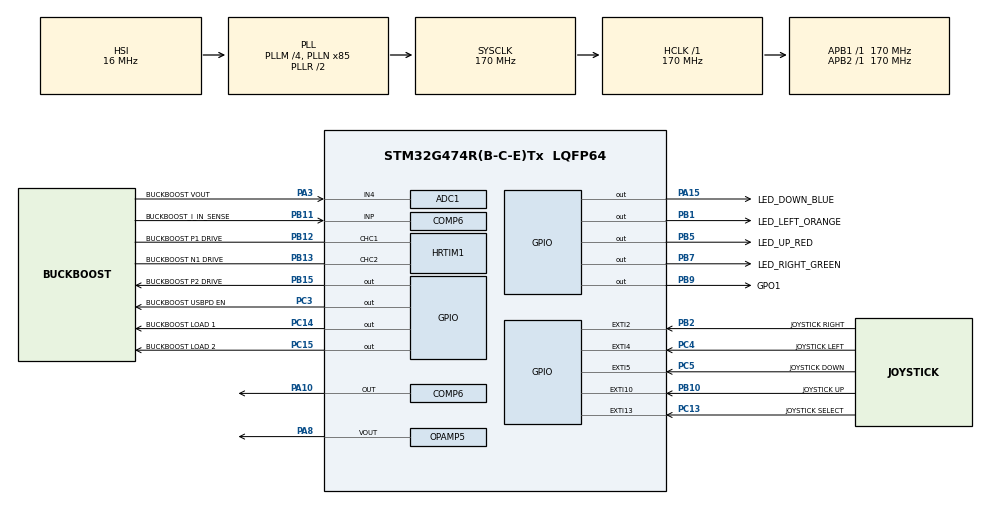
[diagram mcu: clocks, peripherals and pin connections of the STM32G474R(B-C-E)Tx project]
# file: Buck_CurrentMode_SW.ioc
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ADC1.Channel-0\#ChannelRegularConversion=ADC_CHANNEL_4
ADC1.DMAContinuousRequests=ENABLE
ADC1.DataAlign=ADC_DATAALIGN_RIGHT
ADC1.ExternalTrigConv=ADC_EXTERNALTRIG_HRTIM_TRG1
ADC1.NbrOfConversionFlag=1
ADC1.Offset-0\#ChannelRegularConversion=REF
ADC1.OffsetNumber-0\#ChannelRegularConversion=ADC_OFFSET_NONE
ADC1.Overrun=ADC_OVR_DATA_OVERWRITTEN
ADC1.Rank-0\#ChannelRegularConversion=1
ADC1.SamplingTime-0\#ChannelRegularConversion=ADC_SAMPLETIME_2CYCLES_5
ADC1.master=1
COMP6.Hysteresis=COMP_HYSTERESIS_NONE
COMP6.OutputPol=COMP_OUTPUTPOL_INVERTED
DAC4.DAC_Channel-DAC_OUT2_Int=DAC_CHANNEL_2
DAC4.DAC_Trigger2_OUT2-DAC_OUT2_Int=DAC_TRIGGER_HRTIM_STEP_TRG3
DAC4.DAC_Trigger_OUT2-DAC_OUT2_Int=DAC_TRIGGER_HRTIM_RST_TRG3
DAC4.ResetDataSawtooth2-DAC_OUT2_Int=4000
DAC4.StepDataSawtooth2-DAC_OUT2_Int=66
DAC4.WaveGeneration_OUT2-DAC_OUT2_Int=SawtoothWaveGenerate
Dma.ADC1.0.Direction=DMA_PERIPH_TO_MEMORY
Dma.ADC1.0.EventEnable=DISABLE
Dma.ADC1.0.Instance=DMA1_Channel1
Dma.ADC1.0.MemDataAlignment=DMA_MDATAALIGN_WORD
Dma.ADC1.0.MemInc=DMA_MINC_DISABLE
Dma.ADC1.0.Mode=DMA_CIRCULAR
Dma.ADC1.0.PeriphDataAlignment=DMA_PDATAALIGN_WORD
Dma.ADC1.0.PeriphInc=DMA_PINC_DISABLE
Dma.ADC1.0.Polarity=HAL_DMAMUX_REQ_GEN_RISING
Dma.ADC1.0.Priority=DMA_PRIORITY_LOW
Dma.ADC1.0.RequestNumber=1
Dma.ADC1.0.SignalID=HAL_DMAMUX1_REQ_GEN_EXTI2
Dma.ADC1.0.SyncEnable=DISABLE
Dma.ADC1.0.SyncPolarity=HAL_DMAMUX_SYNC_NO_EVENT
Dma.ADC1.0.SyncRequestNumber=1
Dma.ADC1.0.SyncSignalID=NONE
Dma.Request0=ADC1
HRTIM1.ADCTrigger1_Source1=HRTIM_ADCTRIGGEREVENT13_TIMERC_CMP3
HRTIM1.ADCTrigger_Id1=HRTIM_ADCTRIGGER_1
HRTIM1.CompareUnit1-Output_TC1TC2=HRTIM_COMPAREUNIT_1
HRTIM1.CompareUnit2-Output_TC1TC2=HRTIM_COMPAREUNIT_2
HRTIM1.CompareUnit3-Output_TC1TC2=HRTIM_COMPAREUNIT_3
HRTIM1.CompareUnit4-Output_TC1TC2=HRTIM_COMPAREUNIT_4
HRTIM1.CompareValue1-Output_TC1TC2=21760
HRTIM1.CompareValue2-Output_TC1TC2=1000
HRTIM1.CompareValue3-Output_TC1TC2=650
HRTIM1.CompareValue4-Output_TC1TC2=2048
HRTIM1.DeadTimeInsertion-Output_TC1TC2=HRTIM_TIMDEADTIMEINSERTION_ENABLED
HRTIM1.DualChannelDacEnableFake_TC-Output_TC1TC2=HRTIM_TIMER_DCDE_ENABLED_FAKE1
HRTIM1.Event3-Output_TC1TC2=HRTIM_EVENT_3
HRTIM1.Event_EEV3=HRTIM_EVENT_3
HRTIM1.FallingValue-Output_TC1TC2=300
HRTIM1.FaultLevel1-Output_TC1TC2=HRTIM_OUTPUTFAULTLEVEL_INACTIVE
HRTIM1.Fault_Line1=__NULL
HRTIM1.Filter3-Output_TC1TC2=HRTIM_TIMEEVFLT_BLANKINGCMP3
HRTIM1.NumberADCTriggerSource1=1
HRTIM1.NumberResetSource1-Output_TC1TC2=2
HRTIM1.NumberSetSource1-Output_TC1TC2=1
HRTIM1.Periode_TC=27200
HRTIM1.ResetOutput1_Source1-Output_TC1TC2=HRTIM_OUTPUTRESET_TIMCMP1
HRTIM1.ResetOutput1_Source2-Output_TC1TC2=HRTIM_OUTPUTRESET_EEV_3
HRTIM1.RisingValue-Output_TC1TC2=75
HRTIM1.SetOutput1_Source1-Output_TC1TC2=HRTIM_OUTPUTSET_TIMCMP4
Mcu.Family=STM32G4
Mcu.Name=STM32G474R(B-C-E)Tx
Mcu.Package=LQFP64
NVIC.ADC1_2_IRQn=true\:0\:0\:false\:false\:true\:true\:false
NVIC.DMA1_Channel1_IRQn=true\:0\:0\:false\:false\:false\:false\:false
NVIC.EXTI15_10_IRQn=true\:0\:0\:false\:false\:true\:true\:true
NVIC.EXTI2_IRQn=true\:0\:0\:false\:false\:true\:true\:true
NVIC.EXTI4_IRQn=true\:0\:0\:false\:false\:true\:true\:true
NVIC.EXTI9_5_IRQn=true\:0\:0\:false\:false\:true\:true\:true
NVIC.FMAC_IRQn=true\:0\:0\:false\:false\:true\:true\:false
NVIC.PriorityGroup=NVIC_PRIORITYGROUP_4
PA1.GPIO_Label=BUCKBOOST VIN
PA1.Signal=ADC1_IN2
PA10.Mode=ExternalOutput
PA10.Signal=COMP6_OUT
PA13.GPIO_Label=T_SWDIO
PA13.Mode=Trace_Asynchronous_SW
PA13.Signal=SYS_JTMS-SWDIO
PA14.GPIO_Label=T_SWCLK
PA14.Mode=Trace_Asynchronous_SW
PA14.Signal=SYS_JTCK-SWCLK
PA15.GPIO_Label=LED_DOWN_BLUE
PA15.GPIO_PuPd=GPIO_NOPULL
PA15.Signal=GPIO_Output
PA2.GPIO_Label=BUCKBOOST I IN AVG
PA2.Signal=ADC1_IN3
PA3.GPIO_Label=BUCKBOOST VOUT
PA3.Mode=IN4-Single-Ended
PA3.Signal=ADC1_IN4
PA8.Mode=Follower-DAC_OUT2-INP
PA8.Signal=OPAMP5_VOUT
PB1.GPIO_Label=LED_LEFT_ORANGE
PB1.GPIO_PuPd=GPIO_NOPULL
PB1.Signal=GPIO_Output
PB10.GPIO_Label=JOYSTICK UP
PB10.GPIO_PuPd=GPIO_PULLUP
PB10.Signal=GPXTI10
PB11.GPIO_Label=BUCKBOOST_I_IN_SENSE
PB11.Mode=INP
PB11.Signal=COMP6_INP
PB12.GPIO_Label=BUCKBOOST P1 DRIVE
PB12.Mode=Output_TC1TC2
PB12.Signal=HRTIM1_CHC1
PB13.GPIO_Label=BUCKBOOST N1 DRIVE
PB13.Mode=Output_TC1TC2
PB13.Signal=HRTIM1_CHC2
PB14.GPIO_Label=BUCKBOOST N2 DRIVE
PB14.Signal=HRTIM1_CHD1
PB15.GPIO_Label=BUCKBOOST P2 DRIVE
PB15.Signal=GPIO_Output
PB2.GPIO_Label=JOYSTICK RIGHT
PB2.GPIO_ModeDefaultEXTI=GPIO_MODE_IT_RISING
PB2.GPIO_PuPd=GPIO_PULLUP
PB2.Signal=GPXTI2
PB3.GPIO_Label=T_SWO
PB3.Mode=Trace_Asynchronous_SW
PB3.Signal=SYS_JTDO-SWO
PB5.GPIO_Label=LED_UP_RED
PB5.GPIO_PuPd=GPIO_NOPULL
PB5.Signal=GPIO_Output
PB7.GPIO_Label=LED_RIGHT_GREEN
PB7.GPIO_PuPd=GPIO_NOPULL
PB7.Signal=GPIO_Output
PB9.GPIO_Label=GPO1
PB9.GPIO_Speed=GPIO_SPEED_FREQ_VERY_HIGH
PB9.Signal=GPIO_Output
PC10.Signal=USART3_TX
PC11.Signal=USART3_RX
PC13.GPIO_Label=JOYSTICK SELECT
PC13.GPIO_PuPd=GPIO_PULLUP
PC13.Signal=GPXTI13
PC14-OSC32_IN.GPIO_Label=BUCKBOOST LOAD 1
PC14-OSC32_IN.Signal=GPIO_Output
PC15-OSC32_OUT.GPIO_Label=BUCKBOOST LOAD 2
PC15-OSC32_OUT.Signal=GPIO_Output
PC3.GPIO_Label=BUCKBOOST USBPD EN
PC3.PinState=GPIO_PIN_SET
PC3.Signal=GPIO_Output
PC4.GPIO_Label=JOYSTICK LEFT
PC4.GPIO_PuPd=GPIO_PULLUP
PC4.Signal=GPXTI4
PC5.GPIO_Label=JOYSTICK DOWN
PC5.GPIO_PuPd=GPIO_PULLUP
PC5.Signal=GPXTI5
ProjectManager.HeapSize=0x200
ProjectManager.StackSize=0x400
ProjectManager.TargetToolchain=EWARM V8.32
RCC.ADC12CLockSelection=RCC_ADC12CLKSOURCE_PLL
RCC.ADC12Freq_Value=56666666.666666664
RCC.ADC345Freq_Value=170000000
RCC.AHBFreq_Value=170000000
RCC.APB1Freq_Value=170000000
RCC.APB1TimFreq_Value=170000000
RCC.APB2Freq_Value=170000000
RCC.APB2TimFreq_Value=170000000
RCC.CortexFreq_Value=170000000
RCC.EXTERNAL_CLOCK_VALUE=12288000
RCC.HCLKFreq_Value=170000000
RCC.HSE_VALUE=24000000
RCC.HSI48_VALUE=48000000
RCC.HSI_VALUE=16000000
RCC.LSE_VALUE=32768
RCC.PLLM=RCC_PLLM_DIV4
RCC.PLLN=85
RCC.PLLP=RCC_PLLP_DIV6
RCC.SYSCLKFreq_VALUE=170000000
RCC.SYSCLKSource=RCC_SYSCLKSOURCE_PLLCLK
RCC.USBFreq_Value=170000000
RCC.VCOOutputFreq_Value=340000000
VP_COMP6_VS_DAC4OUT2.Mode=INM_DAC4OUT2
VP_DAC4_VS_DACI2.Mode=DAC_OUT2_Int
VP_FMAC_VS_FMAC.Mode=FMAC_Activate
VP_RTC_VS_RTC_Activate.Mode=RTC_Enabled
VP_SYS_VS_DBSignals.Mode=DisableDeadBatterySignals
board=NUCLEO-G474RE

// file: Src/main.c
/* USER CODE BEGIN Header */
/**
  ******************************************************************************
  * @file           : main.c
  * @brief          : Main program body
  ******************************************************************************
  * @attention
  *
  * <h2><center>&copy; Copyright (c) 2019 STMicroelectronics.
  * All rights reserved.</center></h2>
  *
  * This software component is licensed by ST under BSD 3-Clause license,
  * the "License"; You may not use this file except in compliance with the
  * License. You may obtain a copy of the License at:
  *                        opensource.org/licenses/BSD-3-Clause
  *
  ******************************************************************************
  */
/* USER CODE END Header */

#include "main.h"

/* USER CODE BEGIN Includes */
#include "../../common/STM32G474RE_Discovery.c"
#include "stm32g4xx_it.h"
/* USER CODE END Includes */

/* USER CODE BEGIN PD */
//#define RUN_OPEN_LOOP
/* USER CODE END PD */

ADC_HandleTypeDef hadc1;
DMA_HandleTypeDef hdma_adc1;

COMP_HandleTypeDef hcomp6;

DAC_HandleTypeDef hdac4;

FMAC_HandleTypeDef hfmac;

HRTIM_HandleTypeDef hhrtim1;

OPAMP_HandleTypeDef hopamp5;

RTC_HandleTypeDef hrtc;

/* USER CODE BEGIN PV */
float Vdrop = SLOPE_VPP;
float Vdrop_old = 0.0;
extern G4_Demo_t Demo;
int16_t bTransient = 0;
int32_t Vout;
int32_t CompareReg;

/* USER CODE END PV */

void SystemClock_Config(void);
static void MX_GPIO_Init(void);
static void MX_DMA_Init(void);
static void MX_RTC_Init(void);
static void MX_ADC1_Init(void);
static void MX_HRTIM1_Init(void);
static void MX_FMAC_Init(void);
static void MX_COMP6_Init(void);
static void MX_DAC4_Init(void);
static void MX_OPAMP5_Init(void);
/* USER CODE BEGIN PFP */
extern uint16_t HAL_HRTIM_NsToTicks(HRTIM_HandleTypeDef *hhrtim, uint32_t Timers, int ns);
extern uint16_t HAL_HRTIM_FreqToTicks(HRTIM_HandleTypeDef *hhrtim, uint32_t Timers, int FreqHz);
extern uint16_t HAL_HRTIM_DeadBandNsToTicks(int ns);

/* USER CODE END PFP */

/* USER CODE BEGIN 0 */

/* USER CODE BEGIN 0 */
/**
  * @brief This function handles the loads.
  */
void LoadHandler(void)
{
  switch (Demo.NbrActiveLoad)
  {
  case 2:
    /* Enable Load_1 */
    HAL_GPIO_WritePin(GPIOC, BUCKBOOST_LOAD_1_Pin, GPIO_PIN_SET);
    HAL_GPIO_WritePin(GPIOB, LED_RIGHT_GREEN_Pin, GPIO_PIN_SET);
    /* Enable Load_2 */
    HAL_GPIO_WritePin(GPIOC, BUCKBOOST_LOAD_2_Pin, GPIO_PIN_SET);
    HAL_GPIO_WritePin(GPIOB, LED_LEFT_ORANGE_Pin, GPIO_PIN_SET);
    break;
  case 1:
    /* Enable Load_1 */
    HAL_GPIO_WritePin(GPIOC, BUCKBOOST_LOAD_1_Pin, GPIO_PIN_SET);
    HAL_GPIO_WritePin(GPIOB, LED_RIGHT_GREEN_Pin, GPIO_PIN_SET);
    /* Disable Load_2 */
    HAL_GPIO_WritePin(GPIOC, BUCKBOOST_LOAD_2_Pin, GPIO_PIN_RESET);
    HAL_GPIO_WritePin(GPIOB, LED_LEFT_ORANGE_Pin, GPIO_PIN_RESET);
    break;
  case 0:
  default:
    /* Disable Load_1 */
    HAL_GPIO_WritePin(GPIOC, BUCKBOOST_LOAD_1_Pin, GPIO_PIN_RESET);
    HAL_GPIO_WritePin(GPIOB, LED_RIGHT_GREEN_Pin, GPIO_PIN_RESET);
    /* Disable Load_2 */
    HAL_GPIO_WritePin(GPIOC, BUCKBOOST_LOAD_2_Pin, GPIO_PIN_RESET);
    HAL_GPIO_WritePin(GPIOB, LED_LEFT_ORANGE_Pin, GPIO_PIN_RESET);
    break;
  }
}

/**
  * @brief This function handles System tick timer.
  */
void SysTick_Handler(void)
{
  /* USER CODE BEGIN SysTick_IRQn 0 */

  // If ~512 ms has elapsed, check if we are doing transient load mode
  // and run the load handler
  if (0 == HAL_GetTick() % 512)
  {
    if (Demo.bTransient == 1)
    {
      if (Demo.NbrActiveLoad == 1)
      {
        Demo.NbrActiveLoad = 2;
      }
      else
      {
        Demo.NbrActiveLoad = 1;
      }

      LoadHandler();
    }
  }

  // Play back data captured during FMAC ISR
  WaveFormDisplay(&Vout, &CompareReg);

  /* USER CODE END SysTick_IRQn 0 */
  HAL_IncTick();
  /* USER CODE BEGIN SysTick_IRQn 1 */

  /* USER CODE END SysTick_IRQn 1 */
}

/**
  * @brief This set the slope for the DAC.
  * @details
  * The sets the total drop across the PWM period required.
  * We use DAC1 channel 1&2 since channel 1 is connected to the external pin
  * but channel 2 is actually used for the controller.
  */
void SetRamp( float SlopeV )
{
  uint16_t update;
  float stepV;
  uint16_t step;
  uint16_t NumUpdates = 75; // Max updates per period is determiend by the max update rate of the DAC

  update = Demo.periodBuck / NumUpdates;
  stepV = SlopeV/NumUpdates;

  /* DacDrop = (Vdrop * 4096*16(fractional)/3.3V) */
  step = (uint16_t)((stepV * DAC_MAX * 16)/3.3);

  /* Update the sawtooth waveform generator with the required step size */
  LL_DAC_SetWaveSawtoothStepData(DAC4, LL_DAC_CHANNEL_2, step);
  __HAL_HRTIM_SETCOMPARE( &hhrtim1, HRTIM_TIMERINDEX_TIMER_C, HRTIM_COMPAREUNIT_2, update);
}

/* USER CODE END 0 */

int main(void)
{

  /* MCU Configuration--------------------------------------------------------*/

  /* Reset of all peripherals, Initializes the Flash interface and the Systick. */
  HAL_Init();

  /* Configure the system clock */
  SystemClock_Config();

  /* Initialize all configured peripherals */
  MX_GPIO_Init();
  MX_DMA_Init();
  MX_RTC_Init();
  MX_ADC1_Init();
  MX_HRTIM1_Init();
  MX_FMAC_Init();
  MX_COMP6_Init();
  MX_DAC4_Init();
  MX_OPAMP5_Init();
  /* USER CODE BEGIN 2 */

  /* Initialise 3P3Z controller with our 2P2Z coeffs, REF and ADC value */
  CNTRL_3p3zFloatInit(&Demo.CtrlFloat, B0, B1, B2, 0.0,
                      A1, A2, 0.0, K,
                      REF, 0, DAC_MAX );

  /* Perform an ADC automatic self-calibration and enable ADC */
  if (HAL_ADCEx_Calibration_Start(&hadc1, ADC_SINGLE_ENDED) != HAL_OK)
  {
    /* Configuration Error */
    Error_Handler();
  }

#ifndef RUN_OPEN_LOOP
  /* Start the ADC and enable the end of conversion interrupt */
  if (HAL_ADC_Start_IT(&hadc1) != HAL_OK)
  {
    /* Configuration Error */
    Error_Handler();
  }
#endif

  /* Enables DAC and starts conversion of the channel */
  if (HAL_DAC_Start(&hdac4, DAC_CHANNEL_2) != HAL_OK)
  {
    /* Configuration Error */
    Error_Handler();
  }

  /* Start the comparator to detect the peak current trip threshold */
  if (HAL_COMP_Start(&hcomp6) != HAL_OK)
  {
    /* Configuration Error */
    Error_Handler();
  }

  /* Start the OPAMP which allows us to view the demand peak current value on the scope */
  if (HAL_OPAMP_Start(&hopamp5) != HAL_OK)
  {
    /* Configuration Error */
    Error_Handler();
  }

  /* Calculate PWM period and update timer register */
  Demo.periodBuck = HAL_HRTIM_FreqToTicks(&hhrtim1, HRTIM_TIMERINDEX_TIMER_C, SwitchFreq);
  __HAL_HRTIM_SETPERIOD(&hhrtim1, HRTIM_TIMERINDEX_TIMER_C, Demo.periodBuck);

#ifdef RUN_OPEN_LOOP
  /* Open loop so run with a small fixed duty cycle */
  __HAL_HRTIM_SETCOMPARE(&hhrtim1, HRTIM_TIMERINDEX_TIMER_C, HRTIM_COMPAREUNIT_1, Demo.periodBuck * 5 / 100);
#else
  /* Set max duty to 80% of period */
  __HAL_HRTIM_SETCOMPARE(&hhrtim1, HRTIM_TIMERINDEX_TIMER_C, HRTIM_COMPAREUNIT_1, Demo.periodBuck * 80 / 100);
#endif
  /* Set number of slope compensation steps per period to 75 */
  __HAL_HRTIM_SETCOMPARE(&hhrtim1, HRTIM_TIMERINDEX_TIMER_C, HRTIM_COMPAREUNIT_2, Demo.periodBuck / 75);
  /* Set blanking period */
  __HAL_HRTIM_SETCOMPARE(&hhrtim1, HRTIM_TIMERINDEX_TIMER_C, HRTIM_COMPAREUNIT_3, HAL_HRTIM_NsToTicks(&hhrtim1, HRTIM_TIMERINDEX_TIMER_C,500)); // Allow 300ns for blanking + 200ns for rising edge delay
  /* Set PWM rising edge to 200ns after the start of the period */
  __HAL_HRTIM_SETCOMPARE(&hhrtim1, HRTIM_TIMERINDEX_TIMER_C, HRTIM_COMPAREUNIT_4, HAL_HRTIM_NsToTicks(&hhrtim1, HRTIM_TIMERINDEX_TIMER_C,200)); //200ns after start of period

  /* Start the PWMs */
  HAL_HRTIM_WaveformOutputStart(&hhrtim1, HRTIM_OUTPUT_TC1 | HRTIM_OUTPUT_TC2); // Enable output
  HAL_HRTIM_WaveformCounterStart(&hhrtim1, HRTIM_TIMERID_TIMER_C); // Enable counter

  /* Enable T6 for Buck only mode usage */
  HAL_GPIO_WritePin(GPIOB, BUCKBOOST_P2_DRIVE_Pin, GPIO_PIN_SET);

  /* For debugging only */
  Waveform.m_State = WAVEFORM_WAIT_FOR_TRIGGER;

  /* USER CODE END 2 */

  /* Infinite loop */
  /* USER CODE BEGIN WHILE */
  while (1)
  {
    if (bTransient)
    {
      // Toggle blue LED
      HAL_GPIO_WritePin(GPIOA, LED_DOWN_BLUE_Pin, GPIO_PIN_SET);

      // Toggle both loads
      HAL_GPIO_TogglePin(GPIOC, BUCKBOOST_LOAD_1_Pin);
      HAL_GPIO_TogglePin(GPIOC, BUCKBOOST_LOAD_2_Pin);
      HAL_GPIO_TogglePin(GPIOB, LED_RIGHT_GREEN_Pin);
      HAL_GPIO_TogglePin(GPIOB, LED_LEFT_ORANGE_Pin);

      // Delay
      HAL_Delay(500);
    } else {
      // Clear blue LED
      HAL_GPIO_WritePin(GPIOA, LED_DOWN_BLUE_Pin, GPIO_PIN_RESET);
    }

	/* If the user has updated the amount of slope compensation then call SetRamp() to update slope generator */
    if (Vdrop != Vdrop_old)
    {
      SetRamp( Vdrop );
      Vdrop_old = Vdrop;
    }

    /* USER CODE END WHILE */

  }
}

void SystemClock_Config(void)
{
  RCC_OscInitTypeDef RCC_OscInitStruct = {0};
  RCC_ClkInitTypeDef RCC_ClkInitStruct = {0};
  RCC_PeriphCLKInitTypeDef PeriphClkInit = {0};

  /** Configure the main internal regulator output voltage
  */
  HAL_PWREx_ControlVoltageScaling(PWR_REGULATOR_VOLTAGE_SCALE1_BOOST);
  /** Initializes the CPU, AHB and APB busses clocks
  */
  RCC_OscInitStruct.OscillatorType = RCC_OSCILLATORTYPE_HSI|RCC_OSCILLATORTYPE_LSI;
  RCC_OscInitStruct.HSIState = RCC_HSI_ON;
  RCC_OscInitStruct.HSICalibrationValue = RCC_HSICALIBRATION_DEFAULT;
  RCC_OscInitStruct.LSIState = RCC_LSI_ON;
  RCC_OscInitStruct.PLL.PLLState = RCC_PLL_ON;
  RCC_OscInitStruct.PLL.PLLSource = RCC_PLLSOURCE_HSI;
  RCC_OscInitStruct.PLL.PLLM = RCC_PLLM_DIV4;
  RCC_OscInitStruct.PLL.PLLN = 85;
  RCC_OscInitStruct.PLL.PLLP = RCC_PLLP_DIV6;
  RCC_OscInitStruct.PLL.PLLQ = RCC_PLLQ_DIV2;
  RCC_OscInitStruct.PLL.PLLR = RCC_PLLR_DIV2;
  if (HAL_RCC_OscConfig(&RCC_OscInitStruct) != HAL_OK)
  {
    Error_Handler();
  }
  /** Initializes the CPU, AHB and APB busses clocks
  */
  RCC_ClkInitStruct.ClockType = RCC_CLOCKTYPE_HCLK|RCC_CLOCKTYPE_SYSCLK
                              |RCC_CLOCKTYPE_PCLK1|RCC_CLOCKTYPE_PCLK2;
  RCC_ClkInitStruct.SYSCLKSource = RCC_SYSCLKSOURCE_PLLCLK;
  RCC_ClkInitStruct.AHBCLKDivider = RCC_SYSCLK_DIV1;
  RCC_ClkInitStruct.APB1CLKDivider = RCC_HCLK_DIV1;
  RCC_ClkInitStruct.APB2CLKDivider = RCC_HCLK_DIV1;

  if (HAL_RCC_ClockConfig(&RCC_ClkInitStruct, FLASH_LATENCY_8) != HAL_OK)
  {
    Error_Handler();
  }
  /** Initializes the peripherals clocks
  */
  PeriphClkInit.PeriphClockSelection = RCC_PERIPHCLK_RTC|RCC_PERIPHCLK_ADC12;
  PeriphClkInit.Adc12ClockSelection = RCC_ADC12CLKSOURCE_PLL;
  PeriphClkInit.RTCClockSelection = RCC_RTCCLKSOURCE_LSI;
  if (HAL_RCCEx_PeriphCLKConfig(&PeriphClkInit) != HAL_OK)
  {
    Error_Handler();
  }
}

static void MX_ADC1_Init(void)
{

  ADC_MultiModeTypeDef multimode = {0};
  ADC_ChannelConfTypeDef sConfig = {0};

  /** Common config
  */
  hadc1.Instance = ADC1;
  hadc1.Init.ClockPrescaler = ADC_CLOCK_ASYNC_DIV1;
  hadc1.Init.Resolution = ADC_RESOLUTION_12B;
  hadc1.Init.DataAlign = ADC_DATAALIGN_RIGHT;
  hadc1.Init.GainCompensation = 0;
  hadc1.Init.ScanConvMode = ADC_SCAN_DISABLE;
  hadc1.Init.EOCSelection = ADC_EOC_SINGLE_CONV;
  hadc1.Init.LowPowerAutoWait = DISABLE;
  hadc1.Init.ContinuousConvMode = DISABLE;
  hadc1.Init.NbrOfConversion = 1;
  hadc1.Init.DiscontinuousConvMode = DISABLE;
  hadc1.Init.ExternalTrigConv = ADC_EXTERNALTRIG_HRTIM_TRG1;
  hadc1.Init.ExternalTrigConvEdge = ADC_EXTERNALTRIGCONVEDGE_RISING;
  hadc1.Init.DMAContinuousRequests = ENABLE;
  hadc1.Init.Overrun = ADC_OVR_DATA_OVERWRITTEN;
  hadc1.Init.OversamplingMode = DISABLE;
  if (HAL_ADC_Init(&hadc1) != HAL_OK)
  {
    Error_Handler();
  }
  /** Configure the ADC multi-mode
  */
  multimode.Mode = ADC_MODE_INDEPENDENT;
  if (HAL_ADCEx_MultiModeConfigChannel(&hadc1, &multimode) != HAL_OK)
  {
    Error_Handler();
  }
  /** Configure Regular Channel
  */
  sConfig.Channel = ADC_CHANNEL_4;
  sConfig.Rank = ADC_REGULAR_RANK_1;
  sConfig.SamplingTime = ADC_SAMPLETIME_2CYCLES_5;
  sConfig.SingleDiff = ADC_SINGLE_ENDED;
  sConfig.OffsetNumber = ADC_OFFSET_NONE;
  sConfig.Offset = REF;
  if (HAL_ADC_ConfigChannel(&hadc1, &sConfig) != HAL_OK)
  {
    Error_Handler();
  }

}

static void MX_COMP6_Init(void)
{

  hcomp6.Instance = COMP6;
  hcomp6.Init.InputPlus = COMP_INPUT_PLUS_IO1;
  hcomp6.Init.InputMinus = COMP_INPUT_MINUS_DAC4_CH2;
  hcomp6.Init.OutputPol = COMP_OUTPUTPOL_INVERTED;
  hcomp6.Init.Hysteresis = COMP_HYSTERESIS_NONE;
  hcomp6.Init.BlankingSrce = COMP_BLANKINGSRC_NONE;
  hcomp6.Init.TriggerMode = COMP_TRIGGERMODE_NONE;
  if (HAL_COMP_Init(&hcomp6) != HAL_OK)
  {
    Error_Handler();
  }

}

static void MX_DAC4_Init(void)
{

  DAC_ChannelConfTypeDef sConfig = {0};

  /** DAC Initialization
  */
  hdac4.Instance = DAC4;
  if (HAL_DAC_Init(&hdac4) != HAL_OK)
  {
    Error_Handler();
  }
  /** DAC channel OUT2 config
  */
  sConfig.DAC_HighFrequency = DAC_HIGH_FREQUENCY_INTERFACE_MODE_AUTOMATIC;
  sConfig.DAC_DMADoubleDataMode = DISABLE;
  sConfig.DAC_SignedFormat = DISABLE;
  sConfig.DAC_SampleAndHold = DAC_SAMPLEANDHOLD_DISABLE;
  sConfig.DAC_Trigger = DAC_TRIGGER_HRTIM_RST_TRG3;
  sConfig.DAC_Trigger2 = DAC_TRIGGER_HRTIM_STEP_TRG3;
  sConfig.DAC_OutputBuffer = DAC_OUTPUTBUFFER_DISABLE;
  sConfig.DAC_ConnectOnChipPeripheral = DAC_CHIPCONNECT_ENABLE;
  sConfig.DAC_UserTrimming = DAC_TRIMMING_FACTORY;
  if (HAL_DAC_ConfigChannel(&hdac4, &sConfig, DAC_CHANNEL_2) != HAL_OK)
  {
    Error_Handler();
  }
  /** Configure Sawtooth wave generation on DAC OUT2
  */
  if (HAL_DACEx_SawtoothWaveGenerate(&hdac4, DAC_CHANNEL_2, DAC_SAWTOOTH_POLARITY_DECREMENT, 4000, 66) != HAL_OK)
  {
    Error_Handler();
  }

}

static void MX_FMAC_Init(void)
{

  hfmac.Instance = FMAC;
  if (HAL_FMAC_Init(&hfmac) != HAL_OK)
  {
    Error_Handler();
  }

}

static void MX_HRTIM1_Init(void)
{

  HRTIM_EventCfgTypeDef pEventCfg = {0};
  HRTIM_ADCTriggerCfgTypeDef pADCTriggerCfg = {0};
  HRTIM_TimeBaseCfgTypeDef pTimeBaseCfg = {0};
  HRTIM_TimerCtlTypeDef pTimerCtl = {0};
  HRTIM_TimerCfgTypeDef pTimerCfg = {0};
  HRTIM_CompareCfgTypeDef pCompareCfg = {0};
  HRTIM_TimerEventFilteringCfgTypeDef pTimerEventFilteringCfg = {0};
  HRTIM_DeadTimeCfgTypeDef pDeadTimeCfg = {0};
  HRTIM_OutputCfgTypeDef pOutputCfg = {0};

  hhrtim1.Instance = HRTIM1;
  hhrtim1.Init.HRTIMInterruptResquests = HRTIM_IT_NONE;
  hhrtim1.Init.SyncOptions = HRTIM_SYNCOPTION_NONE;
  if (HAL_HRTIM_Init(&hhrtim1) != HAL_OK)
  {
    Error_Handler();
  }
  if (HAL_HRTIM_DLLCalibrationStart(&hhrtim1, HRTIM_CALIBRATIONRATE_3) != HAL_OK)
  {
    Error_Handler();
  }
  if (HAL_HRTIM_PollForDLLCalibration(&hhrtim1, 10) != HAL_OK)
  {
    Error_Handler();
  }
  if (HAL_HRTIM_EventPrescalerConfig(&hhrtim1, HRTIM_EVENTPRESCALER_DIV1) != HAL_OK)
  {
    Error_Handler();
  }
  pEventCfg.Source = HRTIM_EEV3SRC_COMP6_OUT;
  pEventCfg.Polarity = HRTIM_EVENTPOLARITY_HIGH;
  pEventCfg.Sensitivity = HRTIM_EVENTSENSITIVITY_LEVEL;
  pEventCfg.FastMode = HRTIM_EVENTFASTMODE_DISABLE;
  if (HAL_HRTIM_EventConfig(&hhrtim1, HRTIM_EVENT_3, &pEventCfg) != HAL_OK)
  {
    Error_Handler();
  }
  pADCTriggerCfg.UpdateSource = HRTIM_ADCTRIGGERUPDATE_TIMER_C;
  pADCTriggerCfg.Trigger = HRTIM_ADCTRIGGEREVENT13_TIMERC_CMP3;
  if (HAL_HRTIM_ADCTriggerConfig(&hhrtim1, HRTIM_ADCTRIGGER_1, &pADCTriggerCfg) != HAL_OK)
  {
    Error_Handler();
  }
  if (HAL_HRTIM_ADCPostScalerConfig(&hhrtim1, HRTIM_ADCTRIGGER_1, 0x0) != HAL_OK)
  {
    Error_Handler();
  }
  pTimeBaseCfg.Period = 27200;
  pTimeBaseCfg.RepetitionCounter = 0x00;
  pTimeBaseCfg.PrescalerRatio = HRTIM_PRESCALERRATIO_MUL32;
  pTimeBaseCfg.Mode = HRTIM_MODE_CONTINUOUS;
  if (HAL_HRTIM_TimeBaseConfig(&hhrtim1, HRTIM_TIMERINDEX_TIMER_C, &pTimeBaseCfg) != HAL_OK)
  {
    Error_Handler();
  }
  pTimerCtl.UpDownMode = HRTIM_TIMERUPDOWNMODE_UP;
  pTimerCtl.TrigHalf = HRTIM_TIMERTRIGHALF_DISABLED;
  pTimerCtl.GreaterCMP3 = HRTIM_TIMERGTCMP3_EQUAL;
  pTimerCtl.GreaterCMP1 = HRTIM_TIMERGTCMP1_EQUAL;
  pTimerCtl.DualChannelDacReset = HRTIM_TIMER_DCDR_COUNTER;
  pTimerCtl.DualChannelDacStep = HRTIM_TIMER_DCDS_CMP2;
  pTimerCtl.DualChannelDacEnable = HRTIM_TIMER_DCDE_ENABLED;
  if (HAL_HRTIM_WaveformTimerControl(&hhrtim1, HRTIM_TIMERINDEX_TIMER_C, &pTimerCtl) != HAL_OK)
  {
    Error_Handler();
  }
  pTimerCfg.InterruptRequests = HRTIM_TIM_IT_NONE;
  pTimerCfg.DMARequests = HRTIM_TIM_DMA_NONE;
  pTimerCfg.DMASrcAddress = 0x0000;
  pTimerCfg.DMADstAddress = 0x0000;
  pTimerCfg.DMASize = 0x1;
  pTimerCfg.HalfModeEnable = HRTIM_HALFMODE_DISABLED;
  pTimerCfg.InterleavedMode = HRTIM_INTERLEAVED_MODE_DISABLED;
  pTimerCfg.StartOnSync = HRTIM_SYNCSTART_DISABLED;
  pTimerCfg.ResetOnSync = HRTIM_SYNCRESET_DISABLED;
  pTimerCfg.DACSynchro = HRTIM_DACSYNC_NONE;
  pTimerCfg.PreloadEnable = HRTIM_PRELOAD_DISABLED;
  pTimerCfg.UpdateGating = HRTIM_UPDATEGATING_INDEPENDENT;
  pTimerCfg.BurstMode = HRTIM_TIMERBURSTMODE_MAINTAINCLOCK;
  pTimerCfg.RepetitionUpdate = HRTIM_UPDATEONREPETITION_DISABLED;
  pTimerCfg.PushPull = HRTIM_TIMPUSHPULLMODE_DISABLED;
  pTimerCfg.FaultEnable = HRTIM_TIMFAULTENABLE_NONE;
  pTimerCfg.FaultLock = HRTIM_TIMFAULTLOCK_READWRITE;
  pTimerCfg.DeadTimeInsertion = HRTIM_TIMDEADTIMEINSERTION_ENABLED;
  pTimerCfg.DelayedProtectionMode = HRTIM_TIMER_A_B_C_DELAYEDPROTECTION_DISABLED;
  pTimerCfg.UpdateTrigger = HRTIM_TIMUPDATETRIGGER_NONE;
  pTimerCfg.ResetTrigger = HRTIM_TIMRESETTRIGGER_NONE;
  pTimerCfg.ResetUpdate = HRTIM_TIMUPDATEONRESET_DISABLED;
  pTimerCfg.ReSyncUpdate = HRTIM_TIMERESYNC_UPDATE_UNCONDITIONAL;
  if (HAL_HRTIM_WaveformTimerConfig(&hhrtim1, HRTIM_TIMERINDEX_TIMER_C, &pTimerCfg) != HAL_OK)
  {
    Error_Handler();
  }
  pCompareCfg.CompareValue = 21760;
  if (HAL_HRTIM_WaveformCompareConfig(&hhrtim1, HRTIM_TIMERINDEX_TIMER_C, HRTIM_COMPAREUNIT_1, &pCompareCfg) != HAL_OK)
  {
    Error_Handler();
  }
  pCompareCfg.CompareValue = 1000;
  pCompareCfg.AutoDelayedMode = HRTIM_AUTODELAYEDMODE_REGULAR;
  pCompareCfg.AutoDelayedTimeout = 0x0000;

  if (HAL_HRTIM_WaveformCompareConfig(&hhrtim1, HRTIM_TIMERINDEX_TIMER_C, HRTIM_COMPAREUNIT_2, &pCompareCfg) != HAL_OK)
  {
    Error_Handler();
  }
  pCompareCfg.CompareValue = 650;
  if (HAL_HRTIM_WaveformCompareConfig(&hhrtim1, HRTIM_TIMERINDEX_TIMER_C, HRTIM_COMPAREUNIT_3, &pCompareCfg) != HAL_OK)
  {
    Error_Handler();
  }
  pCompareCfg.CompareValue = 2048;
  pCompareCfg.AutoDelayedTimeout = 0x0000;

  if (HAL_HRTIM_WaveformCompareConfig(&hhrtim1, HRTIM_TIMERINDEX_TIMER_C, HRTIM_COMPAREUNIT_4, &pCompareCfg) != HAL_OK)
  {
    Error_Handler();
  }
  pTimerEventFilteringCfg.Filter = HRTIM_TIMEEVFLT_BLANKINGCMP3;
  pTimerEventFilteringCfg.Latch = HRTIM_TIMEVENTLATCH_DISABLED;
  if (HAL_HRTIM_TimerEventFilteringConfig(&hhrtim1, HRTIM_TIMERINDEX_TIMER_C, HRTIM_EVENT_3, &pTimerEventFilteringCfg) != HAL_OK)
  {
    Error_Handler();
  }
  pDeadTimeCfg.Prescaler = HRTIM_TIMDEADTIME_PRESCALERRATIO_MUL8;
  pDeadTimeCfg.RisingValue = 75;
  pDeadTimeCfg.RisingSign = HRTIM_TIMDEADTIME_RISINGSIGN_POSITIVE;
  pDeadTimeCfg.RisingLock = HRTIM_TIMDEADTIME_RISINGLOCK_WRITE;
  pDeadTimeCfg.RisingSignLock = HRTIM_TIMDEADTIME_RISINGSIGNLOCK_WRITE;
  pDeadTimeCfg.FallingValue = 300;
  pDeadTimeCfg.FallingSign = HRTIM_TIMDEADTIME_FALLINGSIGN_POSITIVE;
  pDeadTimeCfg.FallingLock = HRTIM_TIMDEADTIME_FALLINGLOCK_WRITE;
  pDeadTimeCfg.FallingSignLock = HRTIM_TIMDEADTIME_FALLINGSIGNLOCK_WRITE;
  if (HAL_HRTIM_DeadTimeConfig(&hhrtim1, HRTIM_TIMERINDEX_TIMER_C, &pDeadTimeCfg) != HAL_OK)
  {
    Error_Handler();
  }
  pOutputCfg.Polarity = HRTIM_OUTPUTPOLARITY_HIGH;
  pOutputCfg.SetSource = HRTIM_OUTPUTSET_TIMCMP4;
  pOutputCfg.ResetSource = HRTIM_OUTPUTRESET_TIMCMP1|HRTIM_OUTPUTRESET_EEV_3;
  pOutputCfg.IdleMode = HRTIM_OUTPUTIDLEMODE_NONE;
  pOutputCfg.IdleLevel = HRTIM_OUTPUTIDLELEVEL_INACTIVE;
  pOutputCfg.FaultLevel = HRTIM_OUTPUTFAULTLEVEL_INACTIVE;
  pOutputCfg.ChopperModeEnable = HRTIM_OUTPUTCHOPPERMODE_DISABLED;
  pOutputCfg.BurstModeEntryDelayed = HRTIM_OUTPUTBURSTMODEENTRY_REGULAR;
  if (HAL_HRTIM_WaveformOutputConfig(&hhrtim1, HRTIM_TIMERINDEX_TIMER_C, HRTIM_OUTPUT_TC1, &pOutputCfg) != HAL_OK)
  {
    Error_Handler();
  }
  pOutputCfg.SetSource = HRTIM_OUTPUTSET_NONE;
  pOutputCfg.ResetSource = HRTIM_OUTPUTRESET_NONE;
  pOutputCfg.FaultLevel = HRTIM_OUTPUTFAULTLEVEL_NONE;
  if (HAL_HRTIM_WaveformOutputConfig(&hhrtim1, HRTIM_TIMERINDEX_TIMER_C, HRTIM_OUTPUT_TC2, &pOutputCfg) != HAL_OK)
  {
    Error_Handler();
  }
  HAL_HRTIM_MspPostInit(&hhrtim1);

}

static void MX_OPAMP5_Init(void)
{

  hopamp5.Instance = OPAMP5;
  hopamp5.Init.PowerMode = OPAMP_POWERMODE_NORMAL;
  hopamp5.Init.Mode = OPAMP_FOLLOWER_MODE;
  hopamp5.Init.NonInvertingInput = OPAMP_NONINVERTINGINPUT_DAC;
  hopamp5.Init.InternalOutput = DISABLE;
  hopamp5.Init.TimerControlledMuxmode = OPAMP_TIMERCONTROLLEDMUXMODE_DISABLE;
  hopamp5.Init.UserTrimming = OPAMP_TRIMMING_FACTORY;
  if (HAL_OPAMP_Init(&hopamp5) != HAL_OK)
  {
    Error_Handler();
  }

}

static void MX_RTC_Init(void)
{

  /** Initialize RTC Only
  */
  hrtc.Instance = RTC;
  hrtc.Init.HourFormat = RTC_HOURFORMAT_24;
  hrtc.Init.AsynchPrediv = 127;
  hrtc.Init.SynchPrediv = 255;
  hrtc.Init.OutPut = RTC_OUTPUT_DISABLE;
  hrtc.Init.OutPutRemap = RTC_OUTPUT_REMAP_NONE;
  hrtc.Init.OutPutPolarity = RTC_OUTPUT_POLARITY_HIGH;
  hrtc.Init.OutPutType = RTC_OUTPUT_TYPE_OPENDRAIN;
  hrtc.Init.OutPutPullUp = RTC_OUTPUT_PULLUP_NONE;
  if (HAL_RTC_Init(&hrtc) != HAL_OK)
  {
    Error_Handler();
  }

}

static void MX_DMA_Init(void)
{

  /* DMA controller clock enable */
  __HAL_RCC_DMAMUX1_CLK_ENABLE();
  __HAL_RCC_DMA1_CLK_ENABLE();

  /* DMA interrupt init */
  /* DMA1_Channel1_IRQn interrupt configuration */
  HAL_NVIC_SetPriority(DMA1_Channel1_IRQn, 0, 0);
  HAL_NVIC_EnableIRQ(DMA1_Channel1_IRQn);

}

static void MX_GPIO_Init(void)
{
  GPIO_InitTypeDef GPIO_InitStruct = {0};

  /* GPIO Ports Clock Enable */
  __HAL_RCC_GPIOC_CLK_ENABLE();
  __HAL_RCC_GPIOA_CLK_ENABLE();
  __HAL_RCC_GPIOB_CLK_ENABLE();

  /*Configure GPIO pin Output Level */
  HAL_GPIO_WritePin(GPIOC, BUCKBOOST_LOAD_1_Pin|BUCKBOOST_LOAD_2_Pin, GPIO_PIN_RESET);

  /*Configure GPIO pin Output Level */
  HAL_GPIO_WritePin(BUCKBOOST_USBPD_EN_GPIO_Port, BUCKBOOST_USBPD_EN_Pin, GPIO_PIN_SET);

  /*Configure GPIO pin Output Level */
  HAL_GPIO_WritePin(GPIOB, LED_LEFT_ORANGE_Pin|BUCKBOOST_P2_DRIVE_Pin|LED_UP_RED_Pin|LED_RIGHT_GREEN_Pin
                          |GPO1_Pin, GPIO_PIN_RESET);

  /*Configure GPIO pin Output Level */
  HAL_GPIO_WritePin(LED_DOWN_BLUE_GPIO_Port, LED_DOWN_BLUE_Pin, GPIO_PIN_RESET);

  /*Configure GPIO pins : JOYSTICK_SELECT_Pin JOYSTICK_LEFT_Pin JOYSTICK_DOWN_Pin */
  GPIO_InitStruct.Pin = JOYSTICK_SELECT_Pin|JOYSTICK_LEFT_Pin|JOYSTICK_DOWN_Pin;
  GPIO_InitStruct.Mode = GPIO_MODE_IT_RISING;
  GPIO_InitStruct.Pull = GPIO_PULLUP;
  HAL_GPIO_Init(GPIOC, &GPIO_InitStruct);

  /*Configure GPIO pins : BUCKBOOST_LOAD_1_Pin BUCKBOOST_LOAD_2_Pin BUCKBOOST_USBPD_EN_Pin */
  GPIO_InitStruct.Pin = BUCKBOOST_LOAD_1_Pin|BUCKBOOST_LOAD_2_Pin|BUCKBOOST_USBPD_EN_Pin;
  GPIO_InitStruct.Mode = GPIO_MODE_OUTPUT_PP;
  GPIO_InitStruct.Pull = GPIO_NOPULL;
  GPIO_InitStruct.Speed = GPIO_SPEED_FREQ_LOW;
  HAL_GPIO_Init(GPIOC, &GPIO_InitStruct);

  /*Configure GPIO pins : LED_LEFT_ORANGE_Pin BUCKBOOST_P2_DRIVE_Pin LED_UP_RED_Pin LED_RIGHT_GREEN_Pin */
  GPIO_InitStruct.Pin = LED_LEFT_ORANGE_Pin|BUCKBOOST_P2_DRIVE_Pin|LED_UP_RED_Pin|LED_RIGHT_GREEN_Pin;
  GPIO_InitStruct.Mode = GPIO_MODE_OUTPUT_PP;
  GPIO_InitStruct.Pull = GPIO_NOPULL;
  GPIO_InitStruct.Speed = GPIO_SPEED_FREQ_LOW;
  HAL_GPIO_Init(GPIOB, &GPIO_InitStruct);

  /*Configure GPIO pins : JOYSTICK_RIGHT_Pin JOYSTICK_UP_Pin */
  GPIO_InitStruct.Pin = JOYSTICK_RIGHT_Pin|JOYSTICK_UP_Pin;
  GPIO_InitStruct.Mode = GPIO_MODE_IT_RISING;
  GPIO_InitStruct.Pull = GPIO_PULLUP;
  HAL_GPIO_Init(GPIOB, &GPIO_InitStruct);

  /*Configure GPIO pin : LED_DOWN_BLUE_Pin */
  GPIO_InitStruct.Pin = LED_DOWN_BLUE_Pin;
  GPIO_InitStruct.Mode = GPIO_MODE_OUTPUT_PP;
  GPIO_InitStruct.Pull = GPIO_NOPULL;
  GPIO_InitStruct.Speed = GPIO_SPEED_FREQ_LOW;
  HAL_GPIO_Init(LED_DOWN_BLUE_GPIO_Port, &GPIO_InitStruct);

  /*Configure GPIO pins : PC10 PC11 */
  GPIO_InitStruct.Pin = GPIO_PIN_10|GPIO_PIN_11;
  GPIO_InitStruct.Mode = GPIO_MODE_AF_PP;
  GPIO_InitStruct.Pull = GPIO_NOPULL;
  GPIO_InitStruct.Speed = GPIO_SPEED_FREQ_LOW;
  GPIO_InitStruct.Alternate = GPIO_AF7_USART3;
  HAL_GPIO_Init(GPIOC, &GPIO_InitStruct);

  /*Configure GPIO pin : GPO1_Pin */
  GPIO_InitStruct.Pin = GPO1_Pin;
  GPIO_InitStruct.Mode = GPIO_MODE_OUTPUT_PP;
  GPIO_InitStruct.Pull = GPIO_NOPULL;
  GPIO_InitStruct.Speed = GPIO_SPEED_FREQ_VERY_HIGH;
  HAL_GPIO_Init(GPO1_GPIO_Port, &GPIO_InitStruct);

  /* EXTI interrupt init*/
  HAL_NVIC_SetPriority(EXTI2_IRQn, 0, 0);
  HAL_NVIC_EnableIRQ(EXTI2_IRQn);

  HAL_NVIC_SetPriority(EXTI4_IRQn, 0, 0);
  HAL_NVIC_EnableIRQ(EXTI4_IRQn);

  HAL_NVIC_SetPriority(EXTI9_5_IRQn, 0, 0);
  HAL_NVIC_EnableIRQ(EXTI9_5_IRQn);

  HAL_NVIC_SetPriority(EXTI15_10_IRQn, 0, 0);
  HAL_NVIC_EnableIRQ(EXTI15_10_IRQn);

}

void Error_Handler(void)
{
  /* USER CODE BEGIN Error_Handler_Debug */
  /* User can add his own implementation to report the HAL error return state */
	Demo_Error_Handler();

  /* USER CODE END Error_Handler_Debug */
}

/************************ (C) COPYRIGHT STMicroelectronics *****END OF FILE****/
